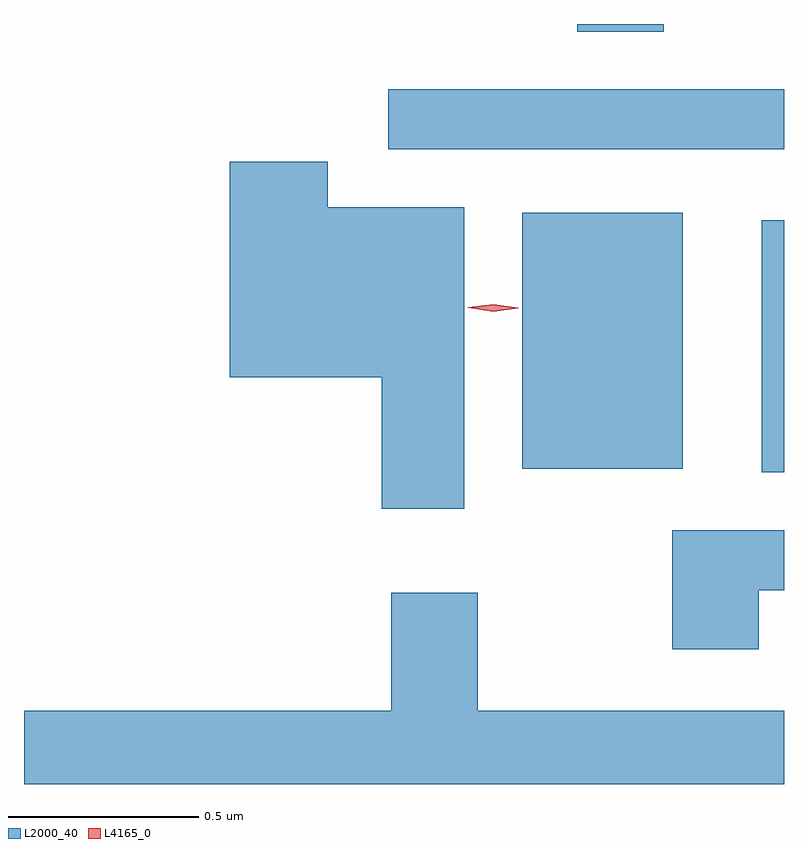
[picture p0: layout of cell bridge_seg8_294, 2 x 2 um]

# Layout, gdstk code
import gdstk
lib = gdstk.Library(unit=1e-6, precision=1e-09)
def R(c, l, rs):  # rectangles x0, y0, x1, y1
    for r in rs: c.add(gdstk.rectangle(r[:2], r[2:], *l))
def P(c, l, *ps):  # polygons
    for p in ps: c.add(gdstk.Polygon(p, *l))
L2000_40 = (2000, 40)
L4165_0 = (4165, 0)

bridge_seg8_294 = lib.new_cell('bridge_seg8_294')
R(bridge_seg8_294, L2000_40, [(1368.846,1830.651,1368.905,1831.314), (1368.216,1830.661,1368.639,1831.334), (1367.863,1831.501,1368.905,1831.659), (1368.361,1831.811,1368.589,1831.831)])
P(bridge_seg8_294, L2000_40, [(1368.064,1831.349),(1367.704,1831.349),(1367.704,1831.469),(1367.446,1831.469),(1367.446,1830.901),(1367.846,1830.901),(1367.846,1830.556),(1368.064,1830.556)],
  [(1368.839,1830.341),(1368.905,1830.341),(1368.905,1830.499),(1368.611,1830.499),(1368.611,1830.186),(1368.839,1830.186)],
  [(1368.905,1830.024),(1368.099,1830.024),(1368.099,1830.334),(1367.871,1830.334),(1367.871,1830.024),(1366.905,1830.024),(1366.905,1829.831),(1368.905,1829.831)])
P(bridge_seg8_294, L4165_0, [(1368.14,1831.074),(1368.074,1831.084),(1368.073,1831.084),(1368.074,1831.085),(1368.14,1831.094),(1368.206,1831.084),(1368.206,1831.084),(1368.206,1831.083)])

lib.write_gds('bridge_seg8_294.gds')
